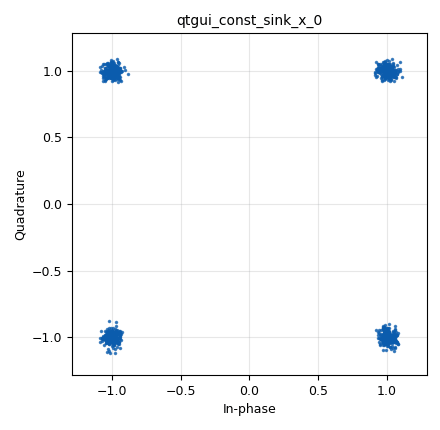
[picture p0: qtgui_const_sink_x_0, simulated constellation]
options:
  parameters:
    author: B. Kerler
    generate_options: qt_gui
    id: top
    output_language: python
    title: QPSK Simulation
  states: {}

blocks:
- name: samp_rate
  id: variable
  parameters:
    value: '32000'
  states: {}
- name: analog_noise_source_x_0
  id: analog_noise_source_x
  parameters:
    amp: '50e-3'
    noise_type: analog.GR_GAUSSIAN
    seed: '0'
    type: complex
  states: {}
- name: blocks_add_const_vxx_0
  id: blocks_add_const_vxx
  parameters:
    comment: |-
      QPSK Encoding
      S0 = -1-j
      S1 = 1-j
      S2 = 1+j
      S3 = -1+j

      Means : 4*bit-1
      [I]
    const: '-1'
    type: float
  states: {}
- name: blocks_add_const_vxx_0_0
  id: blocks_add_const_vxx
  parameters:
    comment: |-
      QPSK Encoding
      S0 = -1-j
      S1 = 1-j
      S2 = 1+j
      S3 = -1+j

      Means : 4*bit-1
      [I]
    const: '-1'
    type: float
  states: {}
- name: blocks_add_xx_0
  id: blocks_add_xx
  parameters:
    type: complex
  states: {}
- name: blocks_float_to_complex_0
  id: blocks_float_to_complex
  parameters: {}
  states: {}
- name: blocks_multiply_const_vxx_0
  id: blocks_multiply_const_vxx
  parameters:
    const: '2'
    type: float
  states: {}
- name: blocks_multiply_const_vxx_0_0
  id: blocks_multiply_const_vxx
  parameters:
    const: '2'
    type: float
  states: {}
- name: blocks_vector_source_x_0
  id: blocks_vector_source_x
  parameters:
    repeat: 'True'
    type: float
    vector: (0, 1,1,0)
  states: {}
- name: blocks_vector_source_x_0_0
  id: blocks_vector_source_x
  parameters:
    repeat: 'True'
    type: float
    vector: (0, 0,1,1)
  states: {}
- name: qtgui_const_sink_x_0
  id: qtgui_const_sink_x
  parameters:
    autoscale: 'True'
    grid: 'True'
    size: '1024'
    type: complex
  states: {}
- name: virtual_sink_0
  id: virtual_sink
  parameters:
    stream_id: I
  states: {}
- name: virtual_sink_0_0
  id: virtual_sink
  parameters:
    stream_id: Q
  states: {}
- name: virtual_sink_1
  id: virtual_sink
  parameters:
    stream_id: modulated
  states: {}
- name: virtual_source_0
  id: virtual_source
  parameters:
    comment: Modulation
    stream_id: I
  states: {}
- name: virtual_source_0_0
  id: virtual_source
  parameters:
    comment: Modulation
    stream_id: Q
  states: {}
- name: virtual_source_1
  id: virtual_source
  parameters:
    comment: Demodulation
    stream_id: modulated
  states: {}

connections:
- [analog_noise_source_x_0, '0', blocks_add_xx_0, '1']
- [blocks_add_const_vxx_0, '0', blocks_float_to_complex_0, '0']
- [blocks_add_const_vxx_0_0, '0', blocks_float_to_complex_0, '1']
- [blocks_add_xx_0, '0', virtual_sink_1, '0']
- [blocks_float_to_complex_0, '0', blocks_add_xx_0, '0']
- [blocks_multiply_const_vxx_0, '0', blocks_add_const_vxx_0, '0']
- [blocks_multiply_const_vxx_0_0, '0', blocks_add_const_vxx_0_0, '0']
- [blocks_vector_source_x_0, '0', virtual_sink_0, '0']
- [blocks_vector_source_x_0_0, '0', virtual_sink_0_0, '0']
- [virtual_source_0, '0', blocks_multiply_const_vxx_0, '0']
- [virtual_source_0_0, '0', blocks_multiply_const_vxx_0_0, '0']
- [virtual_source_1, '0', qtgui_const_sink_x_0, '0']

metadata:
  file_format: 1
  grc_version: v3.11.0.0git-215-g9a698313
